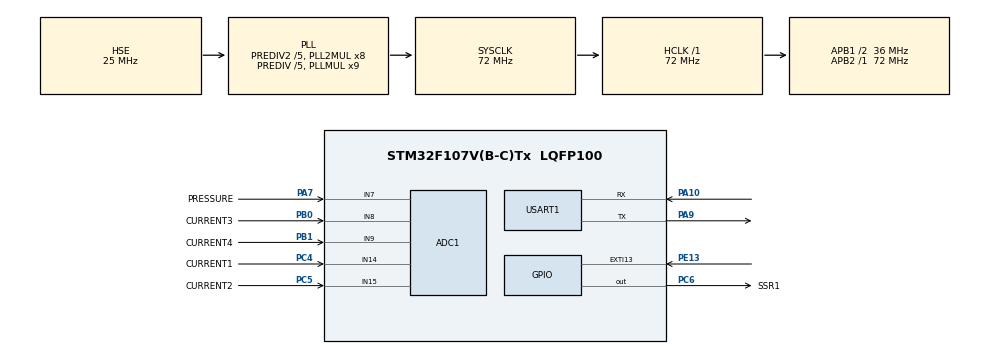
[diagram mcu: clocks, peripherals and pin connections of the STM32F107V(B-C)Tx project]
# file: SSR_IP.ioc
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ADC1.Channel-0\#ChannelRegularConversion=ADC_CHANNEL_14
ADC1.Channel-1\#ChannelRegularConversion=ADC_CHANNEL_15
ADC1.Channel-2\#ChannelRegularConversion=ADC_CHANNEL_8
ADC1.Channel-3\#ChannelRegularConversion=ADC_CHANNEL_9
ADC1.Channel-4\#ChannelRegularConversion=ADC_CHANNEL_7
ADC1.ContinuousConvMode=ENABLE
ADC1.NbrOfConversion=5
ADC1.NbrOfConversionFlag=1
ADC1.Rank-0\#ChannelRegularConversion=1
ADC1.Rank-1\#ChannelRegularConversion=2
ADC1.Rank-2\#ChannelRegularConversion=3
ADC1.Rank-3\#ChannelRegularConversion=4
ADC1.Rank-4\#ChannelRegularConversion=5
ADC1.SamplingTime-0\#ChannelRegularConversion=ADC_SAMPLETIME_239CYCLES_5
ADC1.SamplingTime-1\#ChannelRegularConversion=ADC_SAMPLETIME_239CYCLES_5
ADC1.SamplingTime-2\#ChannelRegularConversion=ADC_SAMPLETIME_239CYCLES_5
ADC1.SamplingTime-3\#ChannelRegularConversion=ADC_SAMPLETIME_239CYCLES_5
ADC1.SamplingTime-4\#ChannelRegularConversion=ADC_SAMPLETIME_239CYCLES_5
ADC1.master=1
Dma.ADC1.0.Direction=DMA_PERIPH_TO_MEMORY
Dma.ADC1.0.Instance=DMA1_Channel1
Dma.ADC1.0.MemDataAlignment=DMA_MDATAALIGN_HALFWORD
Dma.ADC1.0.MemInc=DMA_MINC_ENABLE
Dma.ADC1.0.Mode=DMA_CIRCULAR
Dma.ADC1.0.PeriphDataAlignment=DMA_PDATAALIGN_HALFWORD
Dma.ADC1.0.PeriphInc=DMA_PINC_DISABLE
Dma.ADC1.0.Priority=DMA_PRIORITY_LOW
Dma.Request0=ADC1
Mcu.Family=STM32F1
Mcu.Name=STM32F107V(B-C)Tx
Mcu.Package=LQFP100
NVIC.DMA1_Channel1_IRQn=true\:0\:0\:false\:false\:true\:false\:true\:true
NVIC.PriorityGroup=NVIC_PRIORITYGROUP_4
NVIC.USART1_IRQn=true\:0\:0\:false\:false\:true\:true\:true\:true
OSC_IN.Mode=HSE-External-Oscillator
OSC_IN.Signal=RCC_OSC_IN
OSC_OUT.Mode=HSE-External-Oscillator
OSC_OUT.Signal=RCC_OSC_OUT
PA10.Mode=Asynchronous
PA10.Signal=USART1_RX
PA13.Mode=Serial_Wire
PA13.Signal=SYS_JTMS-SWDIO
PA14.Mode=Serial_Wire
PA14.Signal=SYS_JTCK-SWCLK
PA7.GPIO_Label=PRESSURE
PA7.Signal=ADCx_IN7
PA9.Mode=Asynchronous
PA9.Signal=USART1_TX
PB0.GPIO_Label=CURRENT3
PB0.Signal=ADCx_IN8
PB1.GPIO_Label=CURRENT4
PB1.Signal=ADCx_IN9
PC4.GPIO_Label=CURRENT1
PC4.Signal=ADCx_IN14
PC5.GPIO_Label=CURRENT2
PC5.Signal=ADCx_IN15
PC6.GPIO_Label=SSR1
PC6.Signal=GPIO_Output
PE13.Signal=GPXTI13
ProjectManager.HeapSize=0x200
ProjectManager.StackSize=0x400
ProjectManager.TargetToolchain=STM32CubeIDE
RCC.AHBFreq_Value=72000000
RCC.APB1CLKDivider=RCC_HCLK_DIV2
RCC.APB1Freq_Value=36000000
RCC.APB1TimFreq_Value=72000000
RCC.APB2Freq_Value=72000000
RCC.APB2TimFreq_Value=72000000
RCC.HCLKFreq_Value=72000000
RCC.HSEDivPLL=RCC_HSE_PREDIV_DIV5
RCC.HSE_VALUE=25000000
RCC.PLLMUL=RCC_PLL_MUL9
RCC.PLLSourceVirtual=RCC_PLLSOURCE_HSE
RCC.Prediv1Source=RCC_PREDIV1_SOURCE_PLL2
RCC.Prediv2=RCC_HSE_PREDIV2_DIV5
RCC.SYSCLKFreq_VALUE=72000000
RCC.SYSCLKSource=RCC_SYSCLKSOURCE_PLLCLK
RCC.USBFreq_Value=48000000
SH.ADCx_IN14.0=ADC1_IN14,IN14
SH.ADCx_IN15.0=ADC1_IN15,IN15
SH.ADCx_IN7.0=ADC1_IN7,IN7
SH.ADCx_IN8.0=ADC1_IN8,IN8
SH.ADCx_IN9.0=ADC1_IN9,IN9
TIM1.Prescaler=71
USART1.VirtualMode=VM_ASYNC
VP_TIM1_VS_ClockSourceINT.Mode=Internal
board=custom

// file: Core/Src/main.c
/* USER CODE BEGIN Header */
/**
  ******************************************************************************
  * @file           : main.c
  * @brief          : Main program body
  ******************************************************************************
  * @attention
  *
  * Copyright (c) 2025 STMicroelectronics.
  * All rights reserved.
  *
  * This software is licensed under terms that can be found in the LICENSE file
  * in the root directory of this software component.
  * If no LICENSE file comes with this software, it is provided AS-IS.
  *
  ******************************************************************************
  */
/* USER CODE END Header */
#include "main.h"
#include "adc.h"
#include "dma.h"
#include "tim.h"
#include "usart.h"
#include "gpio.h"

/* USER CODE BEGIN Includes */
#include <string.h>
#include <stdlib.h>
/* USER CODE END Includes */

/* USER CODE BEGIN PD */
// Define AC line frequency (50Hz or 60Hz)
#define AC_LINE_FREQUENCY 60  // Change to 60 for 60Hz systems

// Calculate half-cycle period in microseconds based on frequency
#define HALF_CYCLE_PERIOD_US (1000000 / (AC_LINE_FREQUENCY * 2))
/* USER CODE END PD */

/* USER CODE BEGIN PV */
uint16_t dimmerValue = 0;         // Dimmer value (0-100%)
char rxBuffer[10];              // Buffer to store received characters
uint8_t rxIndex = 0;            // Index for received characters
uint8_t rxComplete = 0;         // Flag to indicate reception complete
uint8_t rxData;                 // Single byte for UART reception

// Variables for AC dimming control
volatile uint16_t dimmerDelayUs = 9999;  // Calculated delay time in microseconds
volatile uint8_t triacTriggered = 0;  // Flag to indicate if triac has been triggered in current half-cycle

uint16_t ADC_VAL[5];
/* USER CODE END PV */

void SystemClock_Config(void);
/* USER CODE BEGIN PFP */
void ProcessReceivedValue(void); // Function to process received data
/* USER CODE END PFP */

/* USER CODE BEGIN 0 */

// Process the received string and convert it to a dimmer value (0-100%)
void ProcessReceivedValue(void)
{
  // Null-terminate the string
  rxBuffer[rxIndex] = '\0';

  // Convert string to integer
  uint32_t tempValue = atoi(rxBuffer);

  // Limit to range (0-100)
  if (tempValue > 100) {
    tempValue = 100;
  }

  // Update dimmer value
  dimmerValue = (uint16_t)tempValue;

  // Convert value 1 to 2 for more stable operation
  if (dimmerValue == 1) {
    dimmerValue = 2;
  }

  // Calculate dimming delay in microseconds
  // Map dimmer value 0-100 to delay HALF_CYCLE_PERIOD_US-0 (inverted, 0% = full off, 100% = full on)
  if (dimmerValue == 0) {
    // If dimmer is 0%, keep SSR off
    dimmerDelayUs = HALF_CYCLE_PERIOD_US; // Set to max delay (never trigger)
  } else if (dimmerValue == 100) {
    // If dimmer is 100%, keep SSR fully on
    dimmerDelayUs = 0;     // No delay (trigger immediately)
  } else {
    // Calculate delay (0% = HALF_CYCLE_PERIOD_US delay, 100% = 0us delay)
    // Ensure the delay is within valid range for the timer
    dimmerDelayUs = HALF_CYCLE_PERIOD_US - ((dimmerValue * HALF_CYCLE_PERIOD_US) / 100);

    // Make sure we have a valid delay value (not 0 or too large)
    if (dimmerDelayUs >= HALF_CYCLE_PERIOD_US) {
      dimmerDelayUs = HALF_CYCLE_PERIOD_US - 100; // Leave a small margin
    } else if (dimmerDelayUs == 0) {
      dimmerDelayUs = 1;
    }
  }

  // Send confirmation back to user
  char txBuffer[50];
  sprintf(txBuffer, "Dimmer value set to: %u%% (Delay: %u us)\r\n", dimmerValue, dimmerDelayUs);
  HAL_UART_Transmit(&huart1, (uint8_t*)txBuffer, strlen(txBuffer), 100);

  // Reset reception variables
  rxIndex = 0;
  rxComplete = 0;
  memset(rxBuffer, 0, sizeof(rxBuffer));
}

// UART Reception Complete Callback
void HAL_UART_RxCpltCallback(UART_HandleTypeDef *huart)
{
  if (huart->Instance == USART1) {
    // Check for Enter key (CR or LF)
    if (rxData == '\r' || rxData == '\n') {
      if (rxIndex > 0) {
        rxComplete = 1;
      }
    }
    // Check for backspace
    else if (rxData == 127 || rxData == 8) {
      if (rxIndex > 0) {
        rxIndex--;
      }
    }
    // Check if the character is a digit and buffer isn't full
    else if (rxData >= '0' && rxData <= '9' && rxIndex < sizeof(rxBuffer) - 1) {
      rxBuffer[rxIndex++] = rxData;

      // Echo the character back to the terminal
      HAL_UART_Transmit(&huart1, &rxData, 1, 10);
    }

    // Start receiving next character
    HAL_UART_Receive_IT(&huart1, &rxData, 1);
  }
}

// Timer1 Update Interrupt Callback
void HAL_TIM_PeriodElapsedCallback(TIM_HandleTypeDef *htim)
{
  if (htim->Instance == TIM1) {
    // This is called when the timer reaches the set delay time
    // Turn on the SSR
    HAL_GPIO_WritePin(SSR1_GPIO_Port, SSR1_Pin, GPIO_PIN_SET);

    // Set flag to indicate triac has been triggered in this half-cycle
    triacTriggered = 1;

    // Stop the timer
    HAL_TIM_Base_Stop_IT(&htim1);

    // Debug output - send trigger confirmation via UART
//    char debugMsg[50];
//    sprintf(debugMsg, "Triggered at delay: %u us\r\n", dimmerDelayUs);
//    HAL_UART_Transmit(&huart1, (uint8_t*)debugMsg, strlen(debugMsg), 10);
  }
}

// GPIO EXTI Callback
void HAL_GPIO_EXTI_Callback(uint16_t GPIO_Pin)
{
  // Check if this is our zero-crossing pin
  if (GPIO_Pin == GPIO_PIN_13) {
    // Debug output - send zero-crossing detection via UART
    // Uncomment for debugging
    // char zcdMsg[] = "ZCD detected\r\n";
    // HAL_UART_Transmit(&huart1, (uint8_t*)zcdMsg, strlen(zcdMsg), 10);

    // Reset triac triggered flag at each zero crossing
    triacTriggered = 0;

    // Turn off SSR at zero crossing if dimmer is not 100%
    if (dimmerValue < 100) {
      HAL_GPIO_WritePin(SSR1_GPIO_Port, SSR1_Pin, GPIO_PIN_RESET);

      // If dimmer value is 0%, don't trigger the timer
      if (dimmerValue > 0) {
        // Make sure timer is stopped before reconfiguring
        HAL_TIM_Base_Stop_IT(&htim1);

        // Set up Timer1 for one-shot operation with the calculated delay
        __HAL_TIM_SET_COUNTER(&htim1, 0);  // Reset counter
        __HAL_TIM_SET_AUTORELOAD(&htim1, dimmerDelayUs);  // Set delay in microseconds

        // Start the timer in interrupt mode
        HAL_TIM_Base_Start_IT(&htim1);
      }
    } else {
      // If dimmer is 100%, keep SSR fully on
      HAL_GPIO_WritePin(SSR1_GPIO_Port, SSR1_Pin, GPIO_PIN_SET);
    }
  }
}

/* USER CODE END 0 */

int main(void)
{

  /* MCU Configuration--------------------------------------------------------*/

  /* Reset of all peripherals, Initializes the Flash interface and the Systick. */
  HAL_Init();

  /* Configure the system clock */
  SystemClock_Config();

  /* Initialize all configured peripherals */
  MX_GPIO_Init();
  MX_DMA_Init();
  MX_USART1_UART_Init();
  MX_TIM1_Init();
  MX_ADC1_Init();
  /* USER CODE BEGIN 2 */
  // Enable EXTI Line 13 interrupt for zero-crossing detection
  HAL_NVIC_SetPriority(EXTI15_10_IRQn, 0, 0);
  HAL_NVIC_EnableIRQ(EXTI15_10_IRQn);

  // Initialize SSR pin to OFF state
  HAL_GPIO_WritePin(SSR1_GPIO_Port, SSR1_Pin, GPIO_PIN_RESET);

  // Initialize Timer1 for microsecond timing
  // Stop any running timer operations first
  HAL_TIM_Base_Stop(&htim1);
  HAL_TIM_Base_Stop_IT(&htim1);

  // Enable Timer1 interrupt
  HAL_NVIC_SetPriority(TIM1_UP_IRQn, 1, 0);
  HAL_NVIC_EnableIRQ(TIM1_UP_IRQn);

  // Start UART reception in interrupt mode
  HAL_UART_Receive_IT(&huart1, &rxData, 1);

  // Send welcome message
  char welcomeMsg[] = "\r\nAC Dimmer Control (0-100): ";
  HAL_UART_Transmit(&huart1, (uint8_t*)welcomeMsg, strlen(welcomeMsg), 100);

  HAL_ADC_Start_DMA(&hadc1, ADC_VAL, 5);
  /* USER CODE END 2 */

  /* Infinite loop */
  /* USER CODE BEGIN WHILE */
  uint32_t lastPrintTime = 0;

  while (1)
  {
    /* USER CODE END WHILE */

    /* USER CODE BEGIN 3 */
    // Check if we have received a complete value
    if (rxComplete) {
      ProcessReceivedValue();

      // Prompt for next input
      char promptMsg[] = "Enter dimmer value (0-100): ";
      HAL_UART_Transmit(&huart1, (uint8_t*)promptMsg, strlen(promptMsg), 100);
    }

    // Print current sensor values every 500ms
    uint32_t currentTime = HAL_GetTick();
    if (currentTime - lastPrintTime >= 500) {
      lastPrintTime = currentTime;

      // Convert ADC values to milliamperes
      // Formula: Current(mA) = (ADC_Value - ZeroCurrentADC) * (3300mV / 4096) / (135mV/A) * 1000
      // Where:
      // - 3300mV is the ADC reference voltage
      // - 4096 is the ADC resolution (12-bit)
      // - 135mV/A is the sensor sensitivity
      // - ZeroCurrentADC is the ADC value when no current is flowing (2300)
      // - 1000 is to convert from A to mA

      int32_t current1_mA = ((int32_t)ADC_VAL[0] - 2300) * 3300 / 4096 * 1000 / 135;
      int32_t current2_mA = ((int32_t)ADC_VAL[1] - 2300) * 3300 / 4096 * 1000 / 135;
      int32_t current3_mA = ((int32_t)ADC_VAL[2] - 2300) * 3300 / 4096 * 1000 / 135;
      int32_t current4_mA = ((int32_t)ADC_VAL[3] - 2300) * 3300 / 4096 * 1000 / 135;

      // Format and print the current sensor values in milliamperes
      char sensorMsg[150];
      sprintf(sensorMsg, "\r\nCurrent Sensors: %ld mA, %ld mA, %ld mA, %ld mA | Pressure: %u\r\n",
              current1_mA, current2_mA, current3_mA, current4_mA, ADC_VAL[4]);
      HAL_UART_Transmit(&huart1, (uint8_t*)sensorMsg, strlen(sensorMsg), 100);
    }

    // The AC dimming is now handled entirely by interrupts:
    // 1. Zero-crossing detection triggers EXTI13 interrupt
    // 2. EXTI13 handler starts Timer1 with the appropriate delay
    // 3. Timer1 interrupt triggers the SSR after the delay
    // This provides microsecond-level precision for AC phase control
  }
  /* USER CODE END 3 */
}

void SystemClock_Config(void)
{
  RCC_OscInitTypeDef RCC_OscInitStruct = {0};
  RCC_ClkInitTypeDef RCC_ClkInitStruct = {0};
  RCC_PeriphCLKInitTypeDef PeriphClkInit = {0};

  /** Initializes the RCC Oscillators according to the specified parameters
  * in the RCC_OscInitTypeDef structure.
  */
  RCC_OscInitStruct.OscillatorType = RCC_OSCILLATORTYPE_HSE;
  RCC_OscInitStruct.HSEState = RCC_HSE_ON;
  RCC_OscInitStruct.HSEPredivValue = RCC_HSE_PREDIV_DIV5;
  RCC_OscInitStruct.HSIState = RCC_HSI_ON;
  RCC_OscInitStruct.Prediv1Source = RCC_PREDIV1_SOURCE_PLL2;
  RCC_OscInitStruct.PLL.PLLState = RCC_PLL_ON;
  RCC_OscInitStruct.PLL.PLLSource = RCC_PLLSOURCE_HSE;
  RCC_OscInitStruct.PLL.PLLMUL = RCC_PLL_MUL9;
  RCC_OscInitStruct.PLL2.PLL2State = RCC_PLL2_ON;
  RCC_OscInitStruct.PLL2.PLL2MUL = RCC_PLL2_MUL8;
  RCC_OscInitStruct.PLL2.HSEPrediv2Value = RCC_HSE_PREDIV2_DIV5;
  if (HAL_RCC_OscConfig(&RCC_OscInitStruct) != HAL_OK)
  {
    Error_Handler();
  }

  /** Initializes the CPU, AHB and APB buses clocks
  */
  RCC_ClkInitStruct.ClockType = RCC_CLOCKTYPE_HCLK|RCC_CLOCKTYPE_SYSCLK
                              |RCC_CLOCKTYPE_PCLK1|RCC_CLOCKTYPE_PCLK2;
  RCC_ClkInitStruct.SYSCLKSource = RCC_SYSCLKSOURCE_PLLCLK;
  RCC_ClkInitStruct.AHBCLKDivider = RCC_SYSCLK_DIV1;
  RCC_ClkInitStruct.APB1CLKDivider = RCC_HCLK_DIV2;
  RCC_ClkInitStruct.APB2CLKDivider = RCC_HCLK_DIV1;

  if (HAL_RCC_ClockConfig(&RCC_ClkInitStruct, FLASH_LATENCY_2) != HAL_OK)
  {
    Error_Handler();
  }
  PeriphClkInit.PeriphClockSelection = RCC_PERIPHCLK_ADC;
  PeriphClkInit.AdcClockSelection = RCC_ADCPCLK2_DIV2;
  if (HAL_RCCEx_PeriphCLKConfig(&PeriphClkInit) != HAL_OK)
  {
    Error_Handler();
  }

  /** Configure the Systick interrupt time
  */
  __HAL_RCC_PLLI2S_ENABLE();
}

void Error_Handler(void)
{
  __disable_irq();
  while (1)
  {
  }
}
